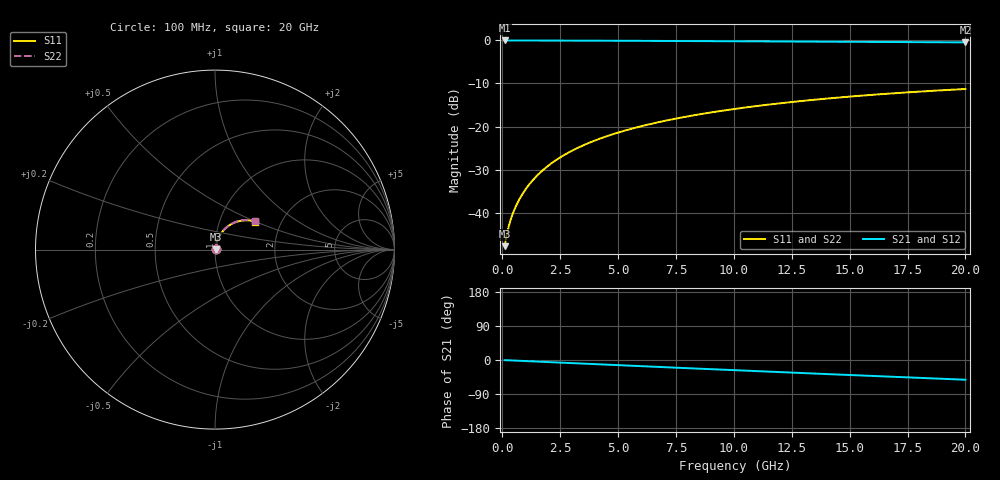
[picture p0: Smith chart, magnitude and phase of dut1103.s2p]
! Touchstone file exported from HFSS 2026.1.0
!  File:  C:/ffzhzh/LocalFiles/Ansys_Project_Files/temp_train_BSMRDL_1103_1783174832_55132.aedt
!  Generated:  10:21:56 PM Jul  4, 2026
!  Design:  BSMRDL
!  Project:  temp_train_BSMRDL_1103_1783174832_55132
! Variables:
!  h_bsmrdl = 3.56um
!  h_ox = 20um
!  h_rdl = 5um
!  h_sub = 80um
!  h_tmrdl = 5um
!  h_tsv = 80um
!  h_via = 3um
!  l_bsmrdl = 872.03um
!  l_sub = 1272.03um
!  l_tmrdl = 200um
!  m_sub = 200um
!  pitch = 41.12um
!  r_tsv = 6um
!  s_tmrdl = 10um
!  w_bsmrdl = 27.43um
!  w_sub = 500um
!  w_tmrdl = 12um
!  x_tsv_center1 = 206um
!  x_tsv_center2 = 1105.46um
!  x_tsv_center3 = 1317.46um
!  x_tsv_center4 = 2216.92um
!  x_tsv_center5 = 2428.92um
!  x_tsv_center6 = 3328.38um
# GHz S MA R 50.000000
! Terminal data exported
! Port[1] = BSM_RDL1_1_T1
! Port[2] = BSM_RDL1_1_T2
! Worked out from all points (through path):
!   200 points, 100 MHz to 20 GHz, reference 50 ohm
!   highest |S21| = -0.03 dB at 100 MHz (marker M1); lowest = -0.5 dB at 20 GHz (marker M2)
!   group delay of S21, straight-line fit = 7.22 ps
!   lowest |S11| = -47.7 dB at 100 MHz (marker M3), VSWR 1.01, Z = 50.3 + j0.223 ohm
!   |S11| at or under -10 dB: start of sweep to end of sweep
!   |S22| runs from -47.7 to -11.3 dB; largest |S21 - S12| = 2e-14
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0.1  0.004109 32.6  0.9965 -0.3  0.9965 -0.3  0.004109 32.6
! Gamma 0 0 0 0
! Port Impedance 50 0 50 0
0.2  0.005689 47.8  0.9962 -0.6  0.9962 -0.6  0.005689 47.8
0.3  0.007334 55.2  0.9959 -0.9  0.9959 -0.9  0.007334 55.2
0.4  0.008936 59.8  0.9956 -1.1  0.9956 -1.1  0.008936 59.8
0.5  0.01052 63.1  0.9954 -1.4  0.9954 -1.4  0.01052 63.1
0.6  0.01211 65.7  0.9953 -1.7  0.9953 -1.7  0.01211 65.7
0.8  0.01533 69.4  0.9951 -2.2  0.9951 -2.2  0.01533 69.4
1.1  0.02028 72.7  0.9948 -3.1  0.9948 -3.1  0.02028 72.7
1.3  0.02363 73.9  0.9946 -3.6  0.9946 -3.6  0.02362 73.9
1.6  0.02869 75.0  0.9943 -4.4  0.9943 -4.4  0.02868 75.0
2.1  0.03716 75.6  0.9938 -5.8  0.9938 -5.8  0.03715 75.7
2.7  0.0473 75.4  0.993 -7.4  0.993 -7.4  0.04729 75.4
3.5  0.06069 74.2  0.9917 -9.6  0.9917 -9.6  0.06067 74.3
4.2  0.07223 72.9  0.9904 -11.5  0.9904 -11.5  0.0722 73.0
5  0.08517 71.1  0.9887 -13.6  0.9887 -13.6  0.08514 71.2
5.9  0.0994 69.0  0.9866 -16.0  0.9866 -16.0  0.09936 69.2
6.8  0.1133 66.8  0.9844 -18.4  0.9844 -18.4  0.1132 67.0
8.3  0.1356 63.1  0.9804 -22.4  0.9804 -22.4  0.1355 63.4
10.1  0.1611 58.7  0.9754 -27.1  0.9754 -27.1  0.1609 59.0
13.4  0.2038 50.6  0.9658 -35.6  0.9658 -35.6  0.2036 51.0
16.7  0.2412 42.6  0.9561 -43.9  0.9561 -43.9  0.2409 43.1
20  0.2728 34.7  0.9469 -52.1  0.9469 -52.1  0.2724 35.3
